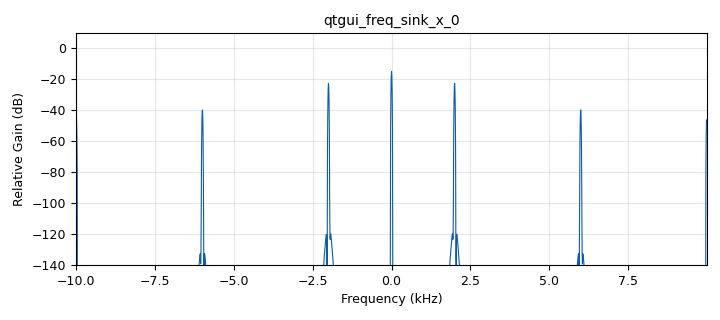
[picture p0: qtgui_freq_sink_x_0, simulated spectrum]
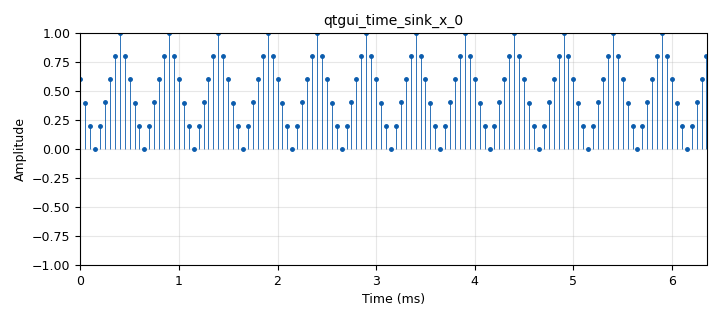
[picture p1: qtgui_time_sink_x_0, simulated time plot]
options:
  parameters:
    author: 'Karol_Robles_Anwar_Cuello_E1B_G4 '
    generate_options: qt_gui
    id: Lab_Comu_I_tutorial_KR_AC
    output_language: python
    title: lab1_a
  states: {}

blocks:
- name: frequency
  id: variable_qtgui_range
  parameters:
    start: '1000'
    step: '1000'
    stop: '40000'
    value: '2000'
  states: {}
- name: samp_rate
  id: variable_qtgui_range
  parameters:
    start: '1000'
    step: '1000'
    stop: '100000'
    value: '20000'
  states: {}
- name: samp_rate
  id: variable
  parameters:
    value: '32000'
  states: {state: disabled}
- name: analog_sig_source_x_0
  id: analog_sig_source_x
  parameters:
    amp: '1'
    freq: frequency
    offset: '0'
    phase: '0'
    samp_rate: samp_rate
    type: float
    waveform: analog.GR_TRI_WAVE
  states: {}
- name: blocks_throttle_0
  id: blocks_throttle
  parameters:
    samples_per_second: samp_rate
    type: float
  states: {}
- name: qtgui_freq_sink_x_0
  id: qtgui_freq_sink_x
  parameters:
    bw: samp_rate
    fc: '0'
    fftsize: '2048'
    type: float
  states: {}
- name: qtgui_time_sink_x_0
  id: qtgui_time_sink_x
  parameters:
    marker1: '0'
    size: '128'
    srate: samp_rate
    stemplot: 'True'
    type: float
  states: {}

connections:
- [analog_sig_source_x_0, '0', blocks_throttle_0, '0']
- [blocks_throttle_0, '0', qtgui_freq_sink_x_0, '0']
- [blocks_throttle_0, '0', qtgui_time_sink_x_0, '0']

metadata:
  file_format: 1
  grc_version: 3.9.8.0
